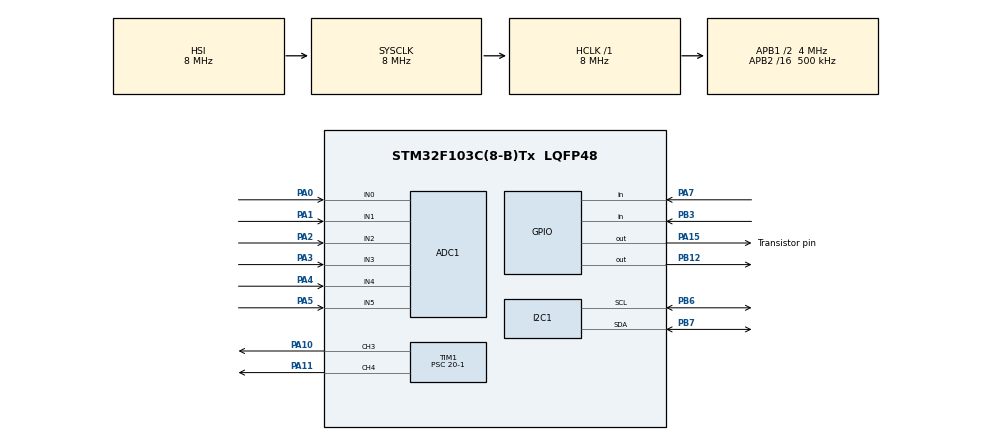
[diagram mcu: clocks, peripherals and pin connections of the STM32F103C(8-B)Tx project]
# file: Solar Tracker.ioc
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Mcu.Family=STM32F1
NVIC.ADC1_2_IRQn=true\:0\:0\:false\:false\:true\:true\:true
SH.S_TIM1_CH4.0=TIM1_CH4,PWM Generation4 CH4
ADC1.ContinuousConvMode=ENABLE
SH.ADCx_IN2.0=ADC1_IN2,IN2
ADC1.SamplingTime-6\#ChannelRegularConversion=ADC_SAMPLETIME_1CYCLE_5
ADC1.Channel-8\#ChannelRegularConversion=ADC_CHANNEL_4
ProjectManager.StackSize=0x400
PA15.GPIO_Label=Transistor pin
TIM1.Prescaler=20-1
ADC1.Channel-5\#ChannelRegularConversion=ADC_CHANNEL_1
TIM1.Channel-PWM\ Generation4\ CH4=TIM_CHANNEL_4
RCC.HCLKFreq_Value=8000000
SH.ADCx_IN3.0=ADC1_IN3,IN3
RCC.APB2TimFreq_Value=1000000
PB6.Signal=I2C1_SCL
Dma.ADC1.0.Direction=DMA_PERIPH_TO_MEMORY
PB6.Mode=I2C
Dma.ADC1.0.MemDataAlignment=DMA_MDATAALIGN_WORD
RCC.AHBFreq_Value=8000000
RCC.PLLMUL=RCC_PLL_MUL7
ADC1.SamplingTime-4\#ChannelRegularConversion=ADC_SAMPLETIME_1CYCLE_5
ADC1.Channel-6\#ChannelRegularConversion=ADC_CHANNEL_2
PB3.GPIO_PuPd=GPIO_PULLUP
PA14.Mode=Serial_Wire
Dma.ADC1.0.PeriphInc=DMA_PINC_DISABLE
PB7.Signal=I2C1_SDA
SH.ADCx_IN0.0=ADC1_IN0,IN0
PA15.GPIO_ModeDefaultOutputPP=GPIO_MODE_OUTPUT_PP
VP_TIM1_VS_ClockSourceINT.Mode=Internal
Mcu.Package=LQFP48
PA10.Signal=S_TIM1_CH3
PA15.Signal=GPIO_Output
RCC.APB2CLKDivider=RCC_HCLK_DIV16
SH.ADCx_IN1.0=ADC1_IN1,IN1
RCC.APB1TimFreq_Value=8000000
TIM1.Period=1000-1
Dma.Request0=ADC1
ADC1.Rank-6\#ChannelRegularConversion=3
ADC1.SamplingTime-8\#ChannelRegularConversion=ADC_SAMPLETIME_1CYCLE_5
NVIC.RCC_IRQn=true\:0\:0\:false\:false\:true\:true\:false
ADC1.Rank-4\#ChannelRegularConversion=1
PA3.Signal=ADCx_IN3
Dma.ADC1.0.Instance=DMA1_Channel1
ADC1.Channel-4\#ChannelRegularConversion=ADC_CHANNEL_0
ADC1.Rank-8\#ChannelRegularConversion=5
RCC.APB1CLKDivider=RCC_HCLK_DIV2
PA0-WKUP.Signal=ADCx_IN0
ADC1.Channel-7\#ChannelRegularConversion=ADC_CHANNEL_3
PA13.Signal=SYS_JTMS-SWDIO
Dma.ADC1.0.PeriphDataAlignment=DMA_PDATAALIGN_WORD
ProjectManager.TargetToolchain=STM32CubeIDE
Dma.ADC1.0.Mode=DMA_CIRCULAR
Dma.ADC1.0.Priority=DMA_PRIORITY_LOW
RCC.USBFreq_Value=28000000
PA7.GPIO_PuPd=GPIO_PULLDOWN
PA1.Signal=ADCx_IN1
PA5.Signal=ADCx_IN5
board=custom
RCC.APB2Freq_Value=500000
SH.ADCx_IN4.0=ADC1_IN4,IN4
ADC1.Rank-9\#ChannelRegularConversion=6
ADC1.NbrOfConversion=6
PA13.Mode=Serial_Wire
Mcu.Name=STM32F103C(8-B)Tx
PA2.Signal=ADCx_IN2
ADC1.Channel-9\#ChannelRegularConversion=ADC_CHANNEL_5
PB3.Signal=GPIO_Input
PA4.Signal=ADCx_IN4
RCC.SYSCLKFreq_VALUE=8000000
ADC1.master=1
PB7.Mode=I2C
PA11.Signal=S_TIM1_CH4
PA14.Signal=SYS_JTCK-SWCLK
Dma.ADC1.0.MemInc=DMA_MINC_ENABLE
ProjectManager.HeapSize=0x200
SH.S_TIM1_CH3.0=TIM1_CH3,PWM Generation3 CH3
ADC1.SamplingTime-5\#ChannelRegularConversion=ADC_SAMPLETIME_1CYCLE_5
SH.ADCx_IN5.0=ADC1_IN5,IN5
ADC1.Rank-7\#ChannelRegularConversion=4
NVIC.PriorityGroup=NVIC_PRIORITYGROUP_4
ADC1.NbrOfConversionFlag=1
PA15.GPIO_PuPd=GPIO_NOPULL
ADC1.SamplingTime-9\#ChannelRegularConversion=ADC_SAMPLETIME_1CYCLE_5
ADC1.SamplingTime-7\#ChannelRegularConversion=ADC_SAMPLETIME_1CYCLE_5
NVIC.DMA1_Channel1_IRQn=true\:0\:0\:false\:false\:true\:false\:true
TIM1.Channel-PWM\ Generation3\ CH3=TIM_CHANNEL_3
RCC.APB1Freq_Value=4000000
ADC1.Rank-5\#ChannelRegularConversion=2
PB12.Signal=GPIO_Output
PA7.Signal=GPIO_Input

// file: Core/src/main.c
/* USER CODE BEGIN Header */
/**
 ******************************************************************************
 * @file           : main.c
 * @brief          : Main program body
 ******************************************************************************
 * @attention
 *
 * <h2><center>&copy; Copyright (c) 2021 STMicroelectronics.
 * All rights reserved.</center></h2>
 *
 * This software component is licensed by ST under BSD 3-Clause license,
 * the "License"; You may not use this file except in compliance with the
 * License. You may obtain a copy of the License at:
 *                        opensource.org/licenses/BSD-3-Clause
 *
 ******************************************************************************
 */
/* USER CODE END Header */
#include "main.h"

/* USER CODE BEGIN Includes */
#include <string.h>
#include <stdio.h>
#include "holder.h"
#include "holder.c"
#include "i2c-lcd.h"
/* USER CODE END Includes */

/* USER CODE BEGIN PD */
#define UPR_LMT 25  // 500//25
#define LWR_LMT 125 // 600//125
#define STP 75      // 90  //75
#define RGT 67      // 62 //67
#define LFT 85      // 600 //85
#define sJANH 17
#define sJANM 42
#define sAPRH 19
#define sAPRM 10
#define sOCTH 18
#define sOCTM 31
#define MinBat 2597
// to do:
// OR GATE BUTTONS
/* USER CODE END PD */

ADC_HandleTypeDef hadc1;
DMA_HandleTypeDef hdma_adc1;

I2C_HandleTypeDef hi2c1;

TIM_HandleTypeDef htim1;

void SystemClock_Config(void);
static void MX_GPIO_Init(void);
static void MX_DMA_Init(void);
static void MX_ADC1_Init(void);
static void MX_I2C1_Init(void);
static void MX_TIM1_Init(void);

/* USER CODE BEGIN 0 */
const uint16_t threshold = 300, off = 5000, WIRES = 1500, JITTER = 25000, stime = 2000;
uint32_t buffer[11];
uint16_t UL = 0, DL = 0, UR = 0, DR = 0, PVD = 0, diff = 0;
uint16_t timer = 0, ML = 0, previous = 0, jit = 0, stimer = 0, suml = 0, sumr = 0, sumd = 0, sumu = 0, pinil = 0;
uint8_t cd = 1, cf = 0, c = 0, b = 0;

char msg[26];

void HAL_ADC_ConvCpltCallback(ADC_HandleTypeDef *hadc)
{
    UL = (uint16_t)buffer[0];
    DL = (uint16_t)buffer[1];
    UR = (uint16_t)buffer[2];
    DR = (uint16_t)buffer[3];
    PVD = (uint16_t)buffer[4];
    diff = (uint16_t)buffer[5];
}

/* USER CODE END 0 */

int main(void)
{

    /* MCU Configuration--------------------------------------------------------*/

    /* Reset of all peripherals, Initializes the Flash interface and the Systick. */
    HAL_Init();

    /* Configure the system clock */
    SystemClock_Config();

    /* Initialize all configured peripherals */
    MX_GPIO_Init();
    MX_DMA_Init();
    MX_ADC1_Init();
    MX_I2C1_Init();
    MX_TIM1_Init();
    /* USER CODE BEGIN 2 */
    HAL_ADCEx_Calibration_Start(&hadc1);
    HAL_ADC_Start_DMA(&hadc1, buffer, 6);
    HAL_TIM_PWM_Start(&htim1, TIM_CHANNEL_4);
    HAL_TIM_PWM_Start(&htim1, TIM_CHANNEL_3);
    TIM1->CCR4 = LWR_LMT;
    RTC_SETUP_LSE(0, 0, 10, 0);

    if (BKP->DR6 == 0)
    {
        while (HAL_GPIO_ReadPin(GPIOA, GPIO_PIN_7) != 1)
            ;
        // SET TIME AND DATE
        SetReg(1, 11, 3, 9, 1, 0);
        // SetReg(1,11,3,23,59,50);
        // SetReg(year, month, day, hours, minutes, seconds);
        lcd_init();
        lcd_clear();
        lcd_put_cur(0, 0);
        // HAL_UART_Transmit(&huart3, "ON---\n", 7, HAL_MAX_DELAY);
        lcd_send_string("ON-------------");
        HAL_Delay(1000);
    }
    // SetReg(uint8_t year,uint8_t month ,uint8_t day,uint8_t hours,uint8_t minutes,uint8_t seconds)
    else if (BKP->DR6 == 1)
    {
        if (BKP->DR7 == 1)
        {
            ReadFromBackUp();
            WriteToDR7DR8(0, BKP->DR8);
        }
        else if (BKP->DR8 == 1)
        {
            READBKP_AFTERSLEEP();
            WriteToDR7DR8(BKP->DR7, 0);
        }
    }

    Calendar();

    Zcalendar time = {0};
    Update(&time);
    if (PVD <= MinBat)
    {
        lcd_clear();
        lcd_put_cur(0, 0);
        // HAL_UART_Transmit(&huart3, "\n\n PVD, please wait until they've been recharged or use the manual charging wires.\n\n", 105,HAL_MAX_DELAY);
        snprintf(msg, 26, ",C:%.1lfmA", (double)(((diff * 3.3 / 4095) / 5 / 2) * 1000));
        // output current?
        // HAL_UART_Transmit(&huart3, msg, strlen(msg), HAL_MAX_DELAY);
        for (int i = 0; i < 3; i++)
        {
            lcd_clear();
            HAL_Delay(600);
            lcd_put_cur(0, 0);
            lcd_send_string("CD01:R");
            lcd_put_cur(1, 0);
            snprintf(msg, 26, ",C:%.1lfmA", (double)(((diff * 3.3 / 4095) / 5 / 2) * 1000));
            lcd_send_string(msg);
            HAL_Delay(1000);
        }
        // something to turn off the regulator(for good)
        SHUTDOWN();
    }
    if ((time.Months >= 1) && (time.Months < 4))
    {
        if (time.Hours > sJANH)
        {
            // HAL_UART_Transmit(&huart3, "\n\nWake up time 7:49\n\n", 22,HAL_MAX_DELAY);
            lcd_clear();
            lcd_put_cur(0, 0);
            lcd_send_string("W:7:49");
            lcd_put_cur(0, 6);
            snprintf(msg, 26, ",C:%.1lfmA", (double)(((diff * 3.3 / 4095) / 5 / 2) * 1000));
            // HAL_UART_Transmit(&huart3, msg, strlen(msg), HAL_MAX_DELAY);
            lcd_send_string(msg);
            lcd_put_cur(1, 0);
            snprintf(msg, 17, "%d:%d:%d:%d:%d", time.Months, time.Days,
                     time.Hours, time.Minutes, time.Seconds);
            lcd_send_string(msg);
            // HAL_UART_Transmit(&huart3, msg, strlen(msg), HAL_MAX_DELAY);
            HAL_Delay(100);
            ALR_SET(7, 49, 0);
            VBAT();
        }
        else if ((time.Hours == sJANH) && (time.Minutes >= sJANM))
        {
            // HAL_UART_Transmit(&huart3, "\n\nWake up time 7:49\n\n", 22,HAL_MAX_DELAY);
            lcd_clear();
            lcd_put_cur(0, 0);
            lcd_send_string("W:7:49");
            lcd_put_cur(0, 6);
            snprintf(msg, 26, ",C:%.1lfmA", (double)(((diff * 3.3 / 4095) / 5 / 2) * 1000));

            //	HAL_UART_Transmit(&huart3, msg, strlen(msg), HAL_MAX_DELAY);
            lcd_send_string(msg);
            lcd_put_cur(1, 0);
            snprintf(msg, 17, "%d:%d:%d:%d:%d", time.Months, time.Days,
                     time.Hours, time.Minutes, time.Seconds);
            // HAL_UART_Transmit(&huart3, msg, strlen(msg), HAL_MAX_DELAY);
            lcd_send_string(msg);
            HAL_Delay(100);
            ALR_SET(7, 49, 0);
            VBAT();
        }
    }

    else if ((time.Months >= 4) && (time.Months < 10))
    {
        if (time.Hours > sAPRH)
        {
            // HAL_UART_Transmit(&huart3, "\n\nWake up time 6:00\n\n", 22,HAL_MAX_DELAY);
            lcd_clear();
            lcd_put_cur(0, 0);
            lcd_send_string("W:6:00");
            lcd_put_cur(0, 6);
            snprintf(msg, 26, ",C:%.1lfmA", (double)(((diff * 3.3 / 4095) / 5 / 2) * 1000));
            //	HAL_UART_Transmit(&huart3, msg, strlen(msg), HAL_MAX_DELAY);
            lcd_send_string(msg);
            lcd_put_cur(1, 0);
            snprintf(msg, 17, "%d:%d:%d:%d:%d", time.Months, time.Days,
                     time.Hours, time.Minutes, time.Seconds);
            // HAL_UART_Transmit(&huart3, msg, strlen(msg), HAL_MAX_DELAY);
            lcd_send_string(msg);
            ALR_SET(6, 0, 0);
            VBAT();
        }
        else if (time.Hours == sAPRH && time.Minutes >= sAPRM)
        {
            // HAL_UART_Transmit(&huart3, "\n\nWake up time 6:00\n\n", 22,HAL_MAX_DELAY);
            lcd_clear();
            lcd_put_cur(0, 0);
            lcd_send_string("W:6:00");
            lcd_put_cur(0, 6);
            snprintf(msg, 26, ",C:%.1lfmA", (double)(((diff * 3.3 / 4095) / 5 / 2) * 1000));
            // HAL_UART_Transmit(&huart3, msg, strlen(msg), HAL_MAX_DELAY);
            lcd_send_string(msg);
            lcd_put_cur(1, 0);
            snprintf(msg, 17, "%d:%d:%d:%d:%d", time.Months, time.Days,
                     time.Hours, time.Minutes, time.Seconds);
            // HAL_UART_Transmit(&huart3, msg, strlen(msg), HAL_MAX_DELAY);
            lcd_send_string(msg);
            ALR_SET(6, 0, 0);
            VBAT();
        }
    }

    else if (time.Months >= 10)
    {
        if (time.Hours > sOCTH)
        {
            // HAL_UART_Transmit(&huart3, "\n\nWake up time 7:30\n\n", 22,HAL_MAX_DELAY);

            lcd_clear();
            lcd_put_cur(0, 0);
            lcd_send_string("W:7:30");
            lcd_put_cur(0, 6);
            snprintf(msg, 26, ",C:%.1lf mA",
                     (double)(((diff * 3.3 / 4095) / 5 / 2) * 1000));
            //	HAL_UART_Transmit(&huart3, msg, strlen(msg), HAL_MAX_DELAY);
            lcd_send_string(msg);
            lcd_put_cur(1, 0);
            snprintf(msg, 17, "%d:%d:%d:%d:%d", time.Months, time.Days,
                     time.Hours, time.Minutes, time.Seconds);
            lcd_send_string(msg);
            // ALR_SET(7,30,0);
            ALR_SET(0, 1, 0);
            VBAT();
        }
        else if (time.Hours == sOCTH && time.Minutes >= sOCTM)
        {
            //	HAL_UART_Transmit(&huart3, "\n\nWake up time 7:30\n\n", 22,HAL_MAX_DELAY);
            lcd_clear();
            lcd_put_cur(0, 0);
            lcd_send_string("W:7:30");
            lcd_put_cur(0, 6);
            snprintf(msg, 26, ",C:%.1lf mA",
                     (double)(((diff * 3.3 / 4095) / 5 / 2.2) * 1000));
            //	HAL_UART_Transmit(&huart3, msg, strlen(msg), HAL_MAX_DELAY);
            lcd_send_string(msg);
            lcd_put_cur(1, 0);
            snprintf(msg, 17, "%d:%d:%d:%d:%d", time.Months, time.Days,
                     time.Hours, time.Minutes, time.Seconds);
            // HAL_UART_Transmit(&huart3, msg, strlen(msg), HAL_MAX_DELAY);
            lcd_send_string(msg);
            // ALR_SET(7,30,0);
            ALR_SET(0, 1, 0);
            VBAT();
        }
    }
    ML = HAL_GetTick();
    previous = HAL_GetTick();
    jit = HAL_GetTick();
    timer = HAL_GetTick();
    stimer = HAL_GetTick();
    /* USER CODE END 2 */

    /* Infinite loop */
    while (1)
    {

        /* USER CODE BEGIN 3 */
        sumr = UR + DR;
        suml = UL + DL;
        sumu = UL + UR;
        sumd = DL + DR;

        if (sumr > suml + threshold)
        {
            TIM1->CCR3 = RGT;
            previous = HAL_GetTick();
        }
        else if (sumr + threshold < suml)
        {
            TIM1->CCR3 = LFT;
            previous = HAL_GetTick();
        }
        else if (sumr <= suml + threshold && sumr + threshold >= suml)
        {
            TIM1->CCR3 = STP;
        }
        if (sumu > sumd + threshold)
        {
            if (TIM1->CCR4 > UPR_LMT)
            {
                TIM1->CCR4--;
                HAL_Delay(5);
                previous = HAL_GetTick();
                stimer = HAL_GetTick();
            }
        }
        else if (sumu + threshold < sumd)
        {
            if (TIM1->CCR4 < LWR_LMT)
            {
                TIM1->CCR4++;
                HAL_Delay(5);
                previous = HAL_GetTick();
                stimer = HAL_GetTick();
            }
        }
        // snprintf(msg,10,"%d\n",PVD);
        // HAL_UART_Transmit(&huart3, msg, strlen(msg), HAL_MAX_DELAY);

        ML = HAL_GetTick();
        if (ML - timer > WIRES)
        {
            b = 1;
        }

        pinil = HAL_GPIO_ReadPin(GPIOB, GPIO_PIN_3);
        // pinil=1;// FOR DEMO
        if (!pinil && !c)
        {
            stimer = HAL_GetTick();
            c = 1;
        }
        else if (pinil)
        {
            c = 0;
        }
        Update(&time);
        ML = HAL_GetTick();
        if ((ML - previous >= off) || ((!pinil) && (b) && (ML - stimer >= stime)) || (ML - jit >= JITTER))
        {

            ML = HAL_GetTick();
            if (ML - previous >= off)
            {
                // HAL_UART_Transmit(&huart3, "\nIDEAL///////////////////////////\n",36, HAL_MAX_DELAY);
                lcd_clear();
                lcd_put_cur(0, 0);
                lcd_send_string("CND:ID");
                lcd_put_cur(0, 6);
                snprintf(msg, 26, ",C:%.1lfmA", (double)(((diff * 3.3 / 4095) / 5 / 2) * 1000));
                lcd_send_string(msg);
                lcd_put_cur(1, 0);
                snprintf(msg, 17, "%d:%d:%d:%d:%d", time.Months, time.Days,
                         time.Hours, time.Minutes, time.Seconds);
                lcd_send_string(msg);
                //	HAL_UART_Transmit(&huart3, "PREVIOUS\n", 10, HAL_MAX_DELAY);
            }
            // buttons
            else if (((!pinil) && (b) && (ML - stimer >= stime)))
            {
                lcd_clear();
                lcd_put_cur(0, 0);
                lcd_send_string("CND:WI");
                lcd_put_cur(0, 6);
                snprintf(msg, 26, ",C:%.1lfmA", (double)(((diff * 3.3 / 4095) / 5 / 2) * 1000));
                lcd_send_string(msg);
                lcd_put_cur(1, 0);
                snprintf(msg, 17, "%d:%d:%d:%d:%d", time.Months, time.Days,
                         time.Hours, time.Minutes, time.Seconds);
                lcd_send_string(msg);
                // HAL_UART_Transmit(&huart3, "WIRES\n", 7, HAL_MAX_DELAY);
            }
            else if (ML - jit >= JITTER)
            {
                lcd_clear();
                lcd_put_cur(0, 0);
                lcd_send_string("CND:JI");
                lcd_put_cur(0, 6);
                snprintf(msg, 26, ",C:%.1lfmA", (double)(((diff * 3.3 / 4095) / 5 / 2) * 1000));
                lcd_send_string(msg);
                lcd_put_cur(1, 0);
                snprintf(msg, 17, "%d:%d:%d:%d:%d", time.Months, time.Days,
                         time.Hours, time.Minutes, time.Seconds);
                lcd_send_string(msg);
                // HAL_UART_Transmit(&huart3, "JITTER\n", 8, HAL_MAX_DELAY);
            }
            ML = HAL_GetTick();
            previous = HAL_GetTick();
            jit = HAL_GetTick();
            timer = HAL_GetTick();
            stimer = HAL_GetTick();
            ALR_SET_PR(0, 0, 10);
            VBAT();
        }
    }

    /* USER CODE END 3 */
}

void SystemClock_Config(void)
{
    RCC_OscInitTypeDef RCC_OscInitStruct = {0};
    RCC_ClkInitTypeDef RCC_ClkInitStruct = {0};
    RCC_PeriphCLKInitTypeDef PeriphClkInit = {0};

    /** Initializes the RCC Oscillators according to the specified parameters
     * in the RCC_OscInitTypeDef structure.
     */
    RCC_OscInitStruct.OscillatorType = RCC_OSCILLATORTYPE_HSI;
    RCC_OscInitStruct.HSIState = RCC_HSI_ON;
    RCC_OscInitStruct.HSICalibrationValue = RCC_HSICALIBRATION_DEFAULT;
    RCC_OscInitStruct.PLL.PLLState = RCC_PLL_NONE;
    if (HAL_RCC_OscConfig(&RCC_OscInitStruct) != HAL_OK)
    {
        Error_Handler();
    }
    /** Initializes the CPU, AHB and APB buses clocks
     */
    RCC_ClkInitStruct.ClockType = RCC_CLOCKTYPE_HCLK | RCC_CLOCKTYPE_SYSCLK | RCC_CLOCKTYPE_PCLK1 | RCC_CLOCKTYPE_PCLK2;
    RCC_ClkInitStruct.SYSCLKSource = RCC_SYSCLKSOURCE_HSI;
    RCC_ClkInitStruct.AHBCLKDivider = RCC_SYSCLK_DIV1;
    RCC_ClkInitStruct.APB1CLKDivider = RCC_HCLK_DIV2;
    RCC_ClkInitStruct.APB2CLKDivider = RCC_HCLK_DIV16;

    if (HAL_RCC_ClockConfig(&RCC_ClkInitStruct, FLASH_LATENCY_0) != HAL_OK)
    {
        Error_Handler();
    }
    PeriphClkInit.PeriphClockSelection = RCC_PERIPHCLK_ADC;
    PeriphClkInit.AdcClockSelection = RCC_ADCPCLK2_DIV2;
    if (HAL_RCCEx_PeriphCLKConfig(&PeriphClkInit) != HAL_OK)
    {
        Error_Handler();
    }
}

static void MX_ADC1_Init(void)
{

    ADC_ChannelConfTypeDef sConfig = {0};

    /** Common config
     */
    hadc1.Instance = ADC1;
    hadc1.Init.ScanConvMode = ADC_SCAN_ENABLE;
    hadc1.Init.ContinuousConvMode = ENABLE;
    hadc1.Init.DiscontinuousConvMode = DISABLE;
    hadc1.Init.ExternalTrigConv = ADC_SOFTWARE_START;
    hadc1.Init.DataAlign = ADC_DATAALIGN_RIGHT;
    hadc1.Init.NbrOfConversion = 6;
    if (HAL_ADC_Init(&hadc1) != HAL_OK)
    {
        Error_Handler();
    }
    /** Configure Regular Channel
     */
    sConfig.Channel = ADC_CHANNEL_0;
    sConfig.Rank = ADC_REGULAR_RANK_1;
    sConfig.SamplingTime = ADC_SAMPLETIME_1CYCLE_5;
    if (HAL_ADC_ConfigChannel(&hadc1, &sConfig) != HAL_OK)
    {
        Error_Handler();
    }
    /** Configure Regular Channel
     */
    sConfig.Channel = ADC_CHANNEL_1;
    sConfig.Rank = ADC_REGULAR_RANK_2;
    if (HAL_ADC_ConfigChannel(&hadc1, &sConfig) != HAL_OK)
    {
        Error_Handler();
    }
    /** Configure Regular Channel
     */
    sConfig.Channel = ADC_CHANNEL_2;
    sConfig.Rank = ADC_REGULAR_RANK_3;
    if (HAL_ADC_ConfigChannel(&hadc1, &sConfig) != HAL_OK)
    {
        Error_Handler();
    }
    /** Configure Regular Channel
     */
    sConfig.Channel = ADC_CHANNEL_3;
    sConfig.Rank = ADC_REGULAR_RANK_4;
    if (HAL_ADC_ConfigChannel(&hadc1, &sConfig) != HAL_OK)
    {
        Error_Handler();
    }
    /** Configure Regular Channel
     */
    sConfig.Channel = ADC_CHANNEL_4;
    sConfig.Rank = ADC_REGULAR_RANK_5;
    if (HAL_ADC_ConfigChannel(&hadc1, &sConfig) != HAL_OK)
    {
        Error_Handler();
    }
    /** Configure Regular Channel
     */
    sConfig.Channel = ADC_CHANNEL_5;
    sConfig.Rank = ADC_REGULAR_RANK_6;
    if (HAL_ADC_ConfigChannel(&hadc1, &sConfig) != HAL_OK)
    {
        Error_Handler();
    }
}

static void MX_I2C1_Init(void)
{

    hi2c1.Instance = I2C1;
    hi2c1.Init.ClockSpeed = 100000;
    hi2c1.Init.DutyCycle = I2C_DUTYCYCLE_2;
    hi2c1.Init.OwnAddress1 = 0;
    hi2c1.Init.AddressingMode = I2C_ADDRESSINGMODE_7BIT;
    hi2c1.Init.DualAddressMode = I2C_DUALADDRESS_DISABLE;
    hi2c1.Init.OwnAddress2 = 0;
    hi2c1.Init.GeneralCallMode = I2C_GENERALCALL_DISABLE;
    hi2c1.Init.NoStretchMode = I2C_NOSTRETCH_DISABLE;
    if (HAL_I2C_Init(&hi2c1) != HAL_OK)
    {
        Error_Handler();
    }
}

static void MX_TIM1_Init(void)
{

    TIM_ClockConfigTypeDef sClockSourceConfig = {0};
    TIM_MasterConfigTypeDef sMasterConfig = {0};
    TIM_OC_InitTypeDef sConfigOC = {0};
    TIM_BreakDeadTimeConfigTypeDef sBreakDeadTimeConfig = {0};

    htim1.Instance = TIM1;
    htim1.Init.Prescaler = 20 - 1;
    htim1.Init.CounterMode = TIM_COUNTERMODE_UP;
    htim1.Init.Period = 1000 - 1;
    htim1.Init.ClockDivision = TIM_CLOCKDIVISION_DIV1;
    htim1.Init.RepetitionCounter = 0;
    htim1.Init.AutoReloadPreload = TIM_AUTORELOAD_PRELOAD_DISABLE;
    if (HAL_TIM_Base_Init(&htim1) != HAL_OK)
    {
        Error_Handler();
    }
    sClockSourceConfig.ClockSource = TIM_CLOCKSOURCE_INTERNAL;
    if (HAL_TIM_ConfigClockSource(&htim1, &sClockSourceConfig) != HAL_OK)
    {
        Error_Handler();
    }
    if (HAL_TIM_PWM_Init(&htim1) != HAL_OK)
    {
        Error_Handler();
    }
    sMasterConfig.MasterOutputTrigger = TIM_TRGO_RESET;
    sMasterConfig.MasterSlaveMode = TIM_MASTERSLAVEMODE_DISABLE;
    if (HAL_TIMEx_MasterConfigSynchronization(&htim1, &sMasterConfig) != HAL_OK)
    {
        Error_Handler();
    }
    sConfigOC.OCMode = TIM_OCMODE_PWM1;
    sConfigOC.Pulse = 0;
    sConfigOC.OCPolarity = TIM_OCPOLARITY_HIGH;
    sConfigOC.OCNPolarity = TIM_OCNPOLARITY_HIGH;
    sConfigOC.OCFastMode = TIM_OCFAST_DISABLE;
    sConfigOC.OCIdleState = TIM_OCIDLESTATE_RESET;
    sConfigOC.OCNIdleState = TIM_OCNIDLESTATE_RESET;
    if (HAL_TIM_PWM_ConfigChannel(&htim1, &sConfigOC, TIM_CHANNEL_3) != HAL_OK)
    {
        Error_Handler();
    }
    if (HAL_TIM_PWM_ConfigChannel(&htim1, &sConfigOC, TIM_CHANNEL_4) != HAL_OK)
    {
        Error_Handler();
    }
    sBreakDeadTimeConfig.OffStateRunMode = TIM_OSSR_DISABLE;
    sBreakDeadTimeConfig.OffStateIDLEMode = TIM_OSSI_DISABLE;
    sBreakDeadTimeConfig.LockLevel = TIM_LOCKLEVEL_OFF;
    sBreakDeadTimeConfig.DeadTime = 0;
    sBreakDeadTimeConfig.BreakState = TIM_BREAK_DISABLE;
    sBreakDeadTimeConfig.BreakPolarity = TIM_BREAKPOLARITY_HIGH;
    sBreakDeadTimeConfig.AutomaticOutput = TIM_AUTOMATICOUTPUT_DISABLE;
    if (HAL_TIMEx_ConfigBreakDeadTime(&htim1, &sBreakDeadTimeConfig) != HAL_OK)
    {
        Error_Handler();
    }
    HAL_TIM_MspPostInit(&htim1);
}

static void MX_DMA_Init(void)
{

    /* DMA controller clock enable */
    __HAL_RCC_DMA1_CLK_ENABLE();

    /* DMA interrupt init */
    /* DMA1_Channel1_IRQn interrupt configuration */
    HAL_NVIC_SetPriority(DMA1_Channel1_IRQn, 0, 0);
    HAL_NVIC_EnableIRQ(DMA1_Channel1_IRQn);
}

static void MX_GPIO_Init(void)
{
    GPIO_InitTypeDef GPIO_InitStruct = {0};

    /* GPIO Ports Clock Enable */
    __HAL_RCC_GPIOC_CLK_ENABLE();
    __HAL_RCC_GPIOD_CLK_ENABLE();
    __HAL_RCC_GPIOA_CLK_ENABLE();
    __HAL_RCC_GPIOB_CLK_ENABLE();

    /*Configure GPIO pin Output Level */
    HAL_GPIO_WritePin(GPIOB, GPIO_PIN_12, GPIO_PIN_RESET);

    /*Configure GPIO pin Output Level */
    HAL_GPIO_WritePin(Transistor_pin_GPIO_Port, Transistor_pin_Pin, GPIO_PIN_RESET);

    /*Configure GPIO pins : PC13 PC14 PC15 */
    GPIO_InitStruct.Pin = GPIO_PIN_13 | GPIO_PIN_14 | GPIO_PIN_15;
    GPIO_InitStruct.Mode = GPIO_MODE_ANALOG;
    HAL_GPIO_Init(GPIOC, &GPIO_InitStruct);

    /*Configure GPIO pins : PD0 PD1 */
    GPIO_InitStruct.Pin = GPIO_PIN_0 | GPIO_PIN_1;
    GPIO_InitStruct.Mode = GPIO_MODE_ANALOG;
    HAL_GPIO_Init(GPIOD, &GPIO_InitStruct);

    /*Configure GPIO pins : PA6 PA8 PA9 PA12 */
    GPIO_InitStruct.Pin = GPIO_PIN_6 | GPIO_PIN_8 | GPIO_PIN_9 | GPIO_PIN_12;
    GPIO_InitStruct.Mode = GPIO_MODE_ANALOG;
    HAL_GPIO_Init(GPIOA, &GPIO_InitStruct);

    /*Configure GPIO pin : PA7 */
    GPIO_InitStruct.Pin = GPIO_PIN_7;
    GPIO_InitStruct.Mode = GPIO_MODE_INPUT;
    GPIO_InitStruct.Pull = GPIO_PULLDOWN;
    HAL_GPIO_Init(GPIOA, &GPIO_InitStruct);

    /*Configure GPIO pins : PB0 PB1 PB2 PB10
                             PB11 PB13 PB14 PB15
                             PB4 PB5 PB8 PB9 */
    GPIO_InitStruct.Pin = GPIO_PIN_0 | GPIO_PIN_1 | GPIO_PIN_2 | GPIO_PIN_10 | GPIO_PIN_11 | GPIO_PIN_13 | GPIO_PIN_14 | GPIO_PIN_15 | GPIO_PIN_4 | GPIO_PIN_5 | GPIO_PIN_8 | GPIO_PIN_9;
    GPIO_InitStruct.Mode = GPIO_MODE_ANALOG;
    HAL_GPIO_Init(GPIOB, &GPIO_InitStruct);

    /*Configure GPIO pin : PB12 */
    GPIO_InitStruct.Pin = GPIO_PIN_12;
    GPIO_InitStruct.Mode = GPIO_MODE_OUTPUT_PP;
    GPIO_InitStruct.Pull = GPIO_NOPULL;
    GPIO_InitStruct.Speed = GPIO_SPEED_FREQ_LOW;
    HAL_GPIO_Init(GPIOB, &GPIO_InitStruct);

    /*Configure GPIO pin : Transistor_pin_Pin */
    GPIO_InitStruct.Pin = Transistor_pin_Pin;
    GPIO_InitStruct.Mode = GPIO_MODE_OUTPUT_PP;
    GPIO_InitStruct.Pull = GPIO_NOPULL;
    GPIO_InitStruct.Speed = GPIO_SPEED_FREQ_LOW;
    HAL_GPIO_Init(Transistor_pin_GPIO_Port, &GPIO_InitStruct);

    /*Configure GPIO pin : PB3 */
    GPIO_InitStruct.Pin = GPIO_PIN_3;
    GPIO_InitStruct.Mode = GPIO_MODE_INPUT;
    GPIO_InitStruct.Pull = GPIO_PULLUP;
    HAL_GPIO_Init(GPIOB, &GPIO_InitStruct);

    /*Configure peripheral I/O remapping */
    __HAL_AFIO_REMAP_PD01_ENABLE();
}

void Error_Handler(void)
{
    __disable_irq();
    while (1)
    {
    }
}

/************************ (C) COPYRIGHT STMicroelectronics *****END OF FILE****/
